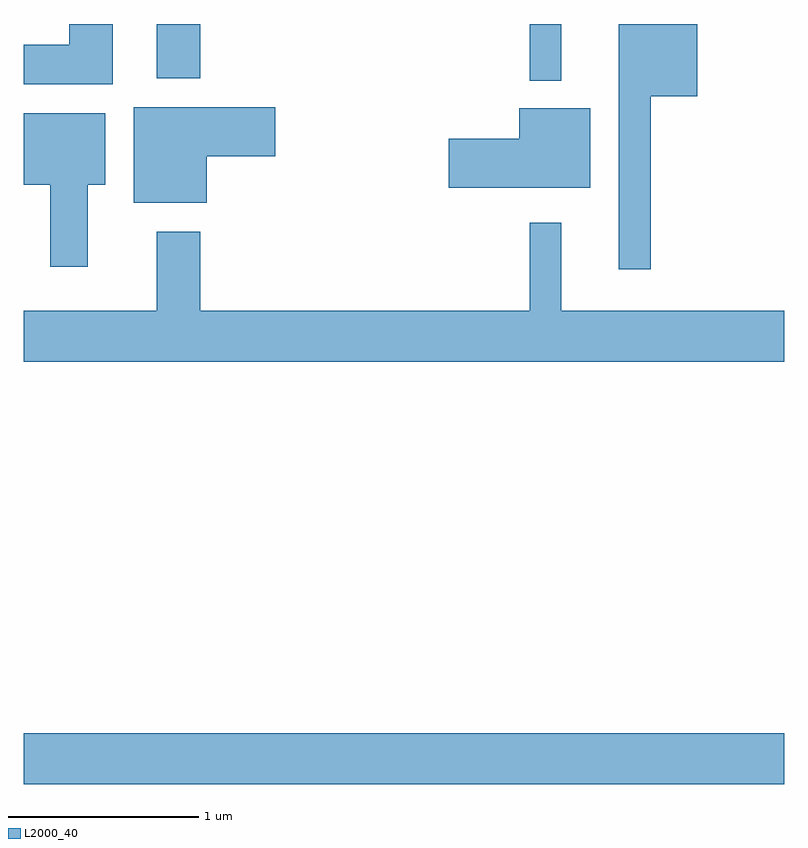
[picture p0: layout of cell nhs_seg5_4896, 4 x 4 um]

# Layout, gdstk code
import gdstk
lib = gdstk.Library(unit=1e-6, precision=1e-09)
def R(c, l, rs):  # rectangles x0, y0, x1, y1
    for r in rs: c.add(gdstk.rectangle(r[:2], r[2:], *l))
def P(c, l, *ps):  # polygons
    for p in ps: c.add(gdstk.Polygon(p, *l))
L2000_40 = (2000, 40)

nhs_seg5_4896 = lib.new_cell('nhs_seg5_4896')
R(nhs_seg5_4896, L2000_40, [(329.611,1510.076,333.611,1510.344), (332.271,1513.773,332.439,1514.072), (330.311,1513.786,330.539,1514.072)])
P(nhs_seg5_4896, L2000_40, [(330.079,1514.072),(329.851,1514.072),(329.851,1513.964),(329.611,1513.964),(329.611,1513.756),(330.079,1513.756)],
  [(332.909,1513.691),(333.154,1513.691),(333.154,1514.072),(332.741,1514.072),(332.741,1512.783),(332.909,1512.783)],
  [(330.574,1513.376),(330.934,1513.376),(330.934,1513.634),(330.191,1513.634),(330.191,1513.131),(330.574,1513.131)],
  [(332.589,1513.629),(332.216,1513.629),(332.216,1513.469),(331.846,1513.469),(331.846,1513.211),(332.589,1513.211)],
  [(329.949,1513.226),(330.039,1513.226),(330.039,1513.604),(329.611,1513.604),(329.611,1513.226),(329.751,1513.226),(329.751,1512.796),(329.949,1512.796)],
  [(333.611,1512.564),(332.439,1512.564),(332.439,1513.028),(332.271,1513.028),(332.271,1512.564),(330.539,1512.564),(330.539,1512.979),(330.311,1512.979),(330.311,1512.564),(329.611,1512.564),(329.611,1512.296),(333.611,1512.296)])

lib.write_gds('nhs_seg5_4896.gds')
